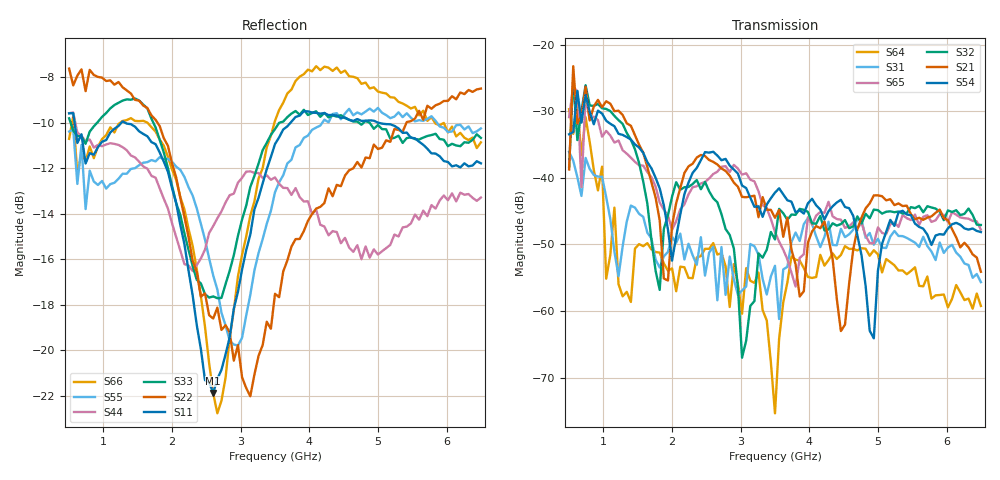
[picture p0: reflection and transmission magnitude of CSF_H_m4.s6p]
!Keysight Technologies,M9804A,MY58100912,A.14.10.03
!Date: Thursday, April 27, 2023 10:28:33
!Correction: S11(C  6-Port  )
!S12(C  6-Port  )
!S13(C  6-Port  )
!S14(C  6-Port  )
!S15(C  6-Port  )
!S16(C  6-Port  )
!S21(C  6-Port  )
!S22(C  6-Port  )
!S23(C  6-Port  )
!S24(C  6-Port  )
!S25(C  6-Port  )
!S26(C  6-Port  )
!S31(C  6-Port  )
!S32(C  6-Port  )
!S33(C  6-Port  )
!S34(C  6-Port  )
!S35(C  6-Port  )
!S36(C  6-Port  )
!S41(C  6-Port  )
!S42(C  6-Port  )
!S43(C  6-Port  )
!S44(C  6-Port  )
!S45(C  6-Port  )
!S46(C  6-Port  )
!S51(C  6-Port  )
!S52(C  6-Port  )
!S53(C  6-Port  )
!S54(C  6-Port  )
!S55(C  6-Port  )
!S56(C  6-Port  )
!S61(C  6-Port  )
!S62(C  6-Port  )
!S63(C  6-Port  )
!S64(C  6-Port  )
!S65(C  6-Port  )
!S66(C  6-Port  )
!S6P File: Measurement: :
# Hz S  RI  R 50
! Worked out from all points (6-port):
!   101 points, 500 MHz to 6.5 GHz, reference 50 ohm
!   strongest paths, dB at 500 MHz, 2 GHz, 3.5 GHz, 5 GHz, 6.5 GHz:
!     S54: -33.4, -52.4, -42.2, -53.9, -48.1
!     S21: -38.7, -47.1, -46.0, -42.6, -54.1
!     S32: -38.4, -42.8, -49.3, -44.9, -47.1
!     S65: -30.9, -47.8, -48.1, -47.4, -47.8
!     S31: -36.1, -48.9, -53.2, -49.2, -55.7
!     S64: -29.7, -53.6, -75.4, -51.5, -59.3
!   lowest |S11| = -21.9 dB at 2.6 GHz (marker M1), VSWR 1.18, Z = 42.8 + j1.97 ohm
!   |S11| at or under -10 dB: 579.6 MHz to 1.259 GHz (679.9 MHz wide, 73.9 % of centre); 1.321 GHz to 3.724 GHz (2.403 GHz wide, 95.3 % of centre); 5.017 GHz to end of sweep
